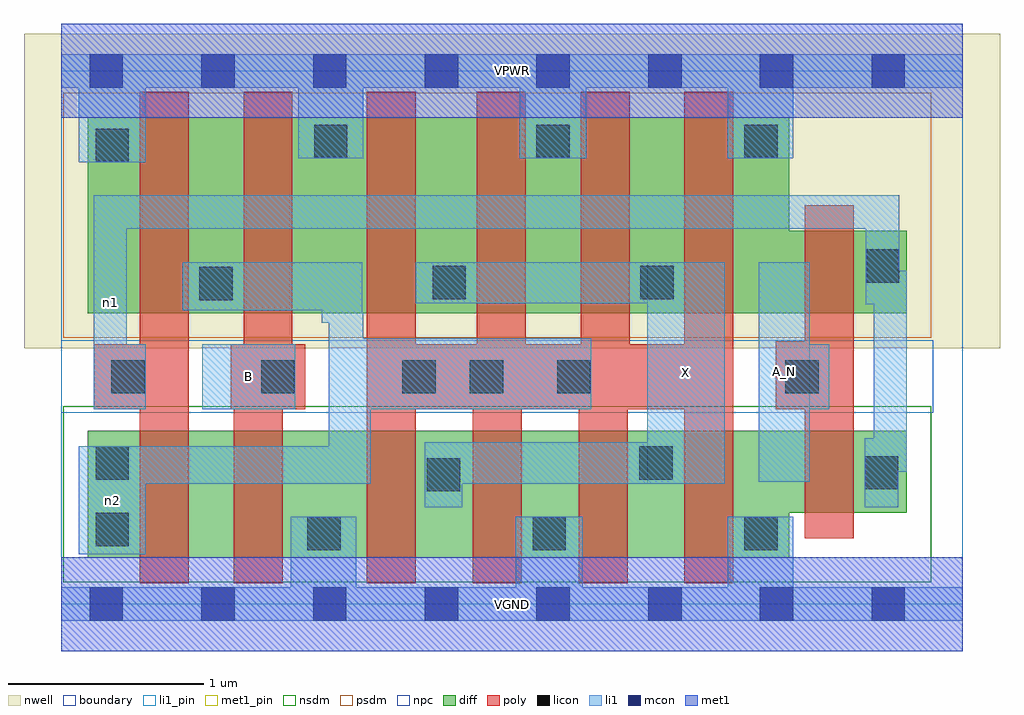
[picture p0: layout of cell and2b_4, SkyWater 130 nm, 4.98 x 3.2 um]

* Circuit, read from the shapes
.subckt and2b_4 A_N B VGND VPWR X n1 n2
XM1 n3 n1 n2 VSUBS sky130_fd_pr__nfet_01v8 w=0.65 l=0.25
XM2 VGND B n3 VSUBS sky130_fd_pr__nfet_01v8 w=0.65 l=0.25
XM3 X n2 VGND VSUBS sky130_fd_pr__nfet_01v8 w=0.65 l=0.25 m=4
XM4 n1 A_N VGND VSUBS sky130_fd_pr__nfet_01v8 w=0.42 l=0.25
XM5 n2 n1 VPWR n4 sky130_fd_pr__pfet_01v8 w=1 l=0.25
XM6 VPWR B n2 n4 sky130_fd_pr__pfet_01v8 w=1 l=0.25
XM7 X n2 VPWR n4 sky130_fd_pr__pfet_01v8 w=1 l=0.25 m=4
XM8 n1 A_N VPWR n4 sky130_fd_pr__pfet_01v8 w=0.42 l=0.25
.ends

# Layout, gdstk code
import gdstk
lib = gdstk.Library(unit=1e-6, precision=1e-09)
def R(c, l, rs):  # rectangles x0, y0, x1, y1
    for r in rs: c.add(gdstk.rectangle(r[:2], r[2:], *l))
def A(c, l, x, y, w, h, nx, ny, dx, dy):  # array of equal rectangles
    R(c, l, [(x+i*dx, y+j*dy, x+i*dx+w, y+j*dy+h) for i in range(nx) for j in range(ny)])
nwell = (64, 20)
diff = (65, 20)
poly = (66, 20)
licon = (66, 44)
li1_pin = (67, 16)
li1 = (67, 20)
mcon = (67, 44)
met1_pin = (68, 16)
met1 = (68, 20)
nsdm = (93, 44)
psdm = (94, 20)
npc = (95, 20)
boundary = (235, 4)

and2b_4 = lib.new_cell('and2b_4')
R(and2b_4, nwell, [(-0.19,1.305,4.79,2.91), (0,1.305,4.6,2.91)])
R(and2b_4, diff, [(0.135,0.235,3.715,0.885), (0.135,0.465,4.315,0.885), (0.135,1.485,4.315,1.905), (0.135,1.485,3.715,2.485)])
R(and2b_4, poly, [(0.4,0.105,0.65,2.615), (0.88,0.105,1.13,1.325), (1.56,0.105,1.81,2.615), (2.1,0.105,2.35,1.325), (2.64,0.105,2.89,1.325), (3.18,0.105,3.43,2.615), (3.795,0.335,4.045,2.035), (0.165,0.995,0.65,1.325), (0.865,0.995,1.245,1.325), (0.93,0.995,1.18,2.615), (1.56,0.995,3.43,1.325), (2.12,0.995,2.37,2.615), (2.65,0.995,2.9,2.615), (3.645,0.995,4.045,1.34)])
R(and2b_4, licon, [(1.255,0.275,1.425,0.445), (2.405,0.275,2.575,0.445), (3.485,0.275,3.655,0.445), (0.175,0.295,0.345,0.465), (1.865,0.575,2.035,0.745), (4.1,0.585,4.27,0.755), (0.175,0.635,0.345,0.805), (2.95,0.635,3.12,0.805), (0.255,1.075,0.425,1.245), (1.02,1.075,1.19,1.245), (1.74,1.075,1.91,1.245), (2.085,1.075,2.255,1.245), (2.53,1.075,2.7,1.245), (3.695,1.075,3.865,1.245), (0.705,1.55,0.875,1.72), (1.895,1.555,2.065,1.725), (2.955,1.555,3.125,1.725), (4.105,1.64,4.275,1.81), (0.175,2.255,0.345,2.425), (1.29,2.275,1.46,2.445), (2.425,2.275,2.595,2.445), (3.485,2.275,3.655,2.445)])
R(and2b_4, li1_pin, [(2.99,0.615,3.385,1.745), (3.56,0.625,3.82,1.745), (0.72,0.995,1.195,1.325)])
R(and2b_4, li1, [(0,-0.085,4.6,0.085), (1.17,-0.085,1.505,0.445), (2.32,-0.085,2.66,0.445), (3.4,-0.085,3.735,0.445), (0.09,0.255,0.43,0.805), (1.855,0.495,2.045,0.825), (4.1,0.495,4.27,0.845), (0.09,0.615,1.58,0.805), (1.365,0.615,1.535,1.745), (1.365,0.615,1.58,1.355), (1.365,0.615,1.54,1.485), (1.855,0.615,3.385,0.825), (2.99,0.615,3.385,1.745), (3.56,0.625,3.82,1.745), (4.145,0.675,4.315,1.7), (0.165,0.995,0.335,2.085), (0.165,0.995,0.43,1.325), (0.72,0.995,1.195,1.325), (1.365,0.995,2.705,1.355), (3.56,0.995,3.92,1.325), (1.33,1.435,1.535,1.5), (0.62,1.5,1.535,1.745), (4.105,1.53,4.275,2.085), (1.81,1.535,3.385,1.745), (0.165,1.915,4.275,2.085), (0.09,2.255,0.43,2.805), (1.21,2.275,1.54,2.805), (2.34,2.275,2.68,2.805), (3.4,2.275,3.735,2.805), (0,2.635,4.6,2.805)])
A(and2b_4, mcon, 0.145, -0.085, 0.17, 0.17, 8, 2, 0.57, 2.72)
R(and2b_4, met1_pin, [(0,-0.24,4.6,0.24), (0,2.48,4.6,2.96)])
R(and2b_4, met1, [(0,-0.24,4.6,0.24), (0,2.48,4.6,2.96)])
R(and2b_4, nsdm, [(0.01,0.11,4.44,1.01)])
R(and2b_4, psdm, [(0.01,1.36,4.44,2.61)])
R(and2b_4, npc, [(0,0.975,4.45,1.345)])
R(and2b_4, boundary, [(0,0,4.6,2.72)])
and2b_4.add(gdstk.Label('A_N', (3.69,1.185), layer=67, texttype=5))
and2b_4.add(gdstk.Label('B', (0.957,1.16), layer=67, texttype=5))
and2b_4.add(gdstk.Label('X', (3.187,1.18), layer=67, texttype=5))
and2b_4.add(gdstk.Label('n2', (0.26,0.53), layer=67, texttype=5))
and2b_4.add(gdstk.Label('n1', (0.25,1.54), layer=67, texttype=5))
and2b_4.add(gdstk.Label('VPWR', (2.3,2.72), layer=68, texttype=5))
and2b_4.add(gdstk.Label('VGND', (2.3,0), layer=68, texttype=5))
and2b_4.add(gdstk.Label('A_N', (3.69,1.185), layer=67, texttype=16))
and2b_4.add(gdstk.Label('B', (0.957,1.16), layer=67, texttype=16))
and2b_4.add(gdstk.Label('X', (3.187,1.18), layer=67, texttype=16))
and2b_4.add(gdstk.Label('VPWR', (2.3,2.72), layer=68, texttype=16))
and2b_4.add(gdstk.Label('VGND', (2.3,0), layer=68, texttype=16))

lib.write_gds('and2b_4.gds')
